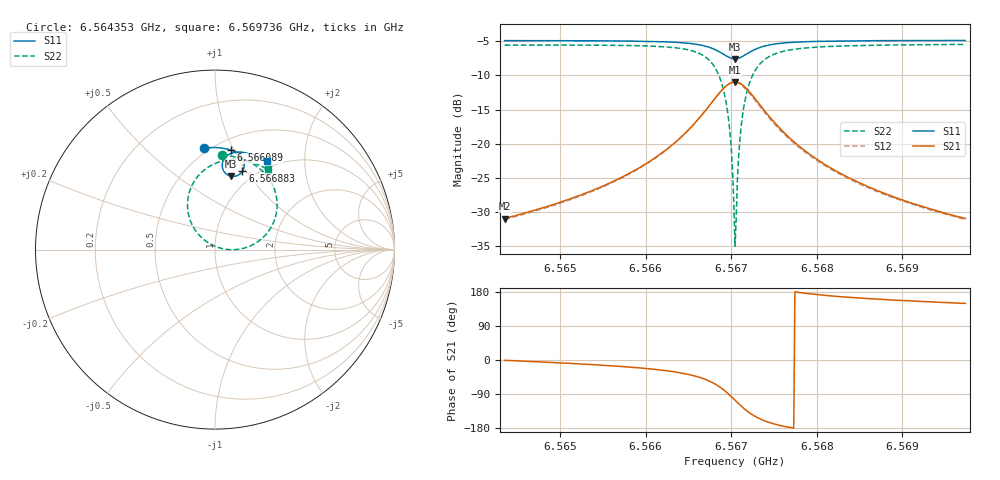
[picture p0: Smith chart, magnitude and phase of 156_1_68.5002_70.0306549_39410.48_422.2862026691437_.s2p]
#  HZ  S  RI  R  50.00
! Rohde & Schwarz Vector Network Analyzer
! Rohde-Schwarz,ZNB20-2Port,1311601062101988,3.16
! Created: UTC 3/20/2024, 4:55:35 PM
! freq[Hz]  re:S11  im:S11  re:S21  im:S21  re:S12  im:S12  re:S22  im:S22
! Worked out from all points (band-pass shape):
!   401 points, 6.564353 GHz to 6.569736 GHz, reference 50 ohm
!   highest |S21| = -10.95 dB at 6.567045 GHz (marker M1); lowest = -31.0 dB at 6.564353 GHz (marker M2)
!   |S21| within 3 dB of the highest: 6.566774 GHz to 6.567313 GHz (538.9 kHz wide, 0.00821 % of centre)
!   lowest |S11| = -7.6 dB at 6.567045 GHz (marker M3), VSWR 2.44, Z = 41.2 + j40.9 ohm
!   |S11| at or under -10 dB: nowhere
!   |S22| runs from -35.0 to -5.4 dB; largest |S21 - S12| = 0.014
!   S11 on the Smith chart (normalised r, x): 6.564353 GHz: 0.47, +0.78; 6.566089 GHz: 0.60, +0.98; 6.566883 GHz: 0.86, +0.96; 6.569736 GHz: 0.91, +1.32
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6.5643526e9  -0.0628 0.5657  0.0282 -0.000499  0.0279 -0.000801  0.0384 0.5267
6.5652544e9  0.0113 0.568  0.0416 -0.00787  0.0409 -0.00841  0.1244 0.5129
6.5660889e9  0.0894 0.5542  0.0702 -0.0317  0.0693 -0.0326  0.2343 0.4625
6.5661562e9  0.0965 0.5516  0.0742 -0.0361  0.073 -0.0369  0.246 0.4536
6.5664523e9  0.131 0.5322  0.0954 -0.0689  0.094 -0.0702  0.3049 0.3887
6.5666677e9  0.1562 0.5006  0.1093 -0.124  0.1067 -0.1265  0.344 0.2822
6.5667888e9  0.1625 0.469  0.1015 -0.1794  0.097 -0.1828  0.3353 0.1763
6.566883e9  0.1531 0.4374  0.0679 -0.2339  0.0599 -0.237  0.2745 0.0741
6.5669638e9  0.1269 0.4138  0.00631 -0.2718  -0.00516 -0.2717  0.1606 0.00768
6.5669907e9  0.1147 0.4094  -0.0209 -0.2775  -0.033 -0.2755  0.1116 -0.000282
6.5670311e9  0.0944 0.4082  -0.0639 -0.2759  -0.0759 -0.2708  0.0351 0.00682
6.5670446e9  0.0875 0.4094  -0.0781 -0.2724  -0.0899 -0.2664  0.0102 0.0145
6.567058e9  0.081 0.4113  -0.0918 -0.2678  -0.1033 -0.2606  -0.0135 0.0245
6.5670715e9  0.0746 0.4139  -0.1051 -0.2617  -0.1161 -0.2535  -0.036 0.0371
6.5670984e9  0.063 0.4211  -0.129 -0.2462  -0.1383 -0.2363  -0.0755 0.0677
6.5671388e9  0.05 0.4355  -0.1569 -0.2166  -0.1634 -0.2052  -0.1197 0.1235
6.5671926e9  0.0411 0.4575  -0.178 -0.173  -0.181 -0.1615  -0.1489 0.2025
6.5672599e9  0.0413 0.4829  -0.1837 -0.1232  -0.1834 -0.1132  -0.1499 0.2898
6.5675022e9  0.0786 0.5311  -0.1411 -0.0279  -0.138 -0.0235  -0.0521 0.4497
6.5679463e9  0.1415 0.543  -0.0806 0.00847  -0.0787 0.00979  0.0848 0.5006
6.5688481e9  0.2259 0.5227  -0.039 0.0152  -0.0382 0.0154  0.2154 0.4827
6.5697365e9  0.2917 0.4909  -0.0243 0.0144  -0.0238 0.0145  0.2936 0.4467
